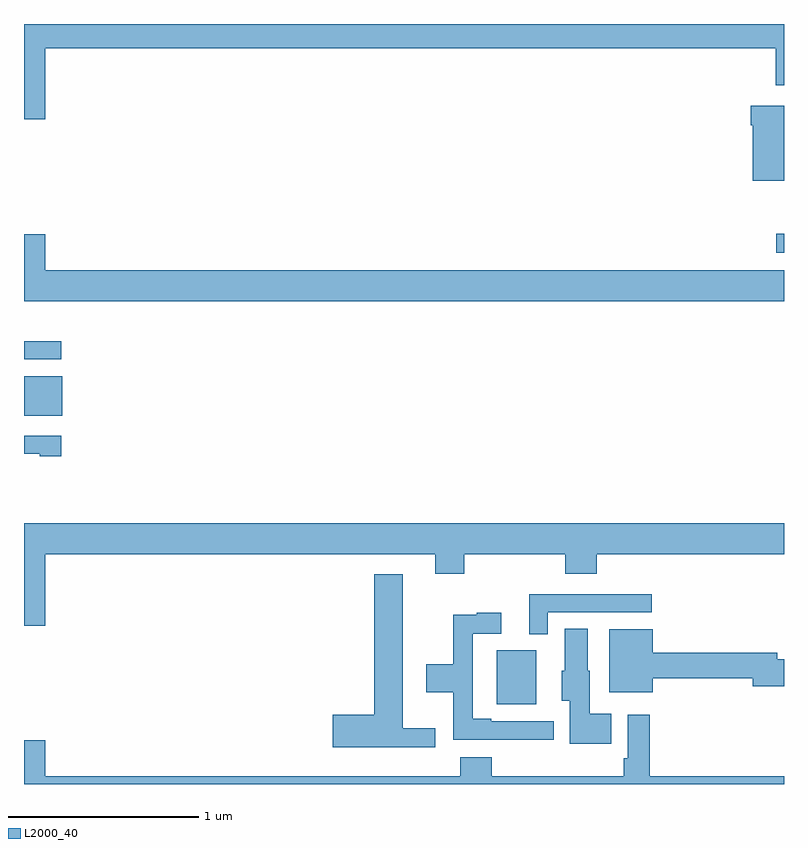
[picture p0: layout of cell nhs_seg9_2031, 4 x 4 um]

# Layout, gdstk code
import gdstk
lib = gdstk.Library(unit=1e-6, precision=1e-09)
def R(c, l, rs):  # rectangles x0, y0, x1, y1
    for r in rs: c.add(gdstk.rectangle(r[:2], r[2:], *l))
def P(c, l, *ps):  # polygons
    for p in ps: c.add(gdstk.Polygon(p, *l))
L2000_40 = (2000, 40)

nhs_seg9_2031 = lib.new_cell('nhs_seg9_2031')
R(nhs_seg9_2031, L2000_40, [(227.489,1240.919,227.695,1241.203), (225,1242.437,225.202,1242.646), (225,1242.735,225.196,1242.831), (228.96,1243.296,229,1243.397)])
P(nhs_seg9_2031, L2000_40, [(225.112,1244.372),(228.956,1244.372),(228.956,1244.178),(229,1244.178),(229,1244.5),(225,1244.5),(225,1243.998),(225.112,1243.998)],
  [(229,1244.071),(228.824,1244.071),(228.824,1243.967),(228.836,1243.967),(228.836,1243.676),(229,1243.676)],
  [(229,1243.204),(225.112,1243.204),(225.112,1243.393),(225,1243.393),(225,1243.04),(229,1243.04)],
  [(225.196,1242.333),(225,1242.333),(225,1242.237),(225.083,1242.237),(225.083,1242.225),(225.196,1242.225)],
  [(225,1241.334),(225.112,1241.334),(225.112,1241.708),(227.165,1241.708),(227.165,1241.606),(227.318,1241.606),(227.318,1241.708),(227.849,1241.708),(227.849,1241.606),(228.014,1241.606),(228.014,1241.708),(229,1241.708),(229,1241.872),(225,1241.872)],
  [(227.164,1240.793),(226.993,1240.793),(226.993,1241.605),(226.844,1241.605),(226.844,1240.865),(226.626,1240.865),(226.626,1240.694),(227.164,1240.694)],
  [(227.757,1241.403),(228.304,1241.403),(228.304,1241.499),(227.66,1241.499),(227.66,1241.288),(227.757,1241.288)],
  [(227.788,1240.83),(227.458,1240.83),(227.458,1240.843),(227.361,1240.843),(227.361,1241.292),(227.512,1241.292),(227.512,1241.401),(227.384,1241.401),(227.384,1241.39),(227.26,1241.39),(227.26,1241.13),(227.118,1241.13),(227.118,1240.982),(227.26,1240.982),(227.26,1240.734),(227.545,1240.734),(227.545,1240.733),(227.788,1240.733)],
  [(228.092,1240.87),(227.977,1240.87),(227.977,1241.097),(227.968,1241.097),(227.968,1241.318),(227.846,1241.318),(227.846,1241.097),(227.831,1241.097),(227.831,1240.938),(227.873,1240.938),(227.873,1240.712),(228.092,1240.712)],
  [(228.31,1241.056),(228.836,1241.056),(228.836,1241.014),(229,1241.014),(229,1241.156),(228.964,1241.156),(228.964,1241.192),(228.31,1241.192),(228.31,1241.314),(228.08,1241.314),(228.08,1240.982),(228.31,1240.982)],
  [(229,1240.54),(228.293,1240.54),(228.293,1240.864),(228.177,1240.864),(228.177,1240.636),(228.157,1240.636),(228.157,1240.54),(227.462,1240.54),(227.462,1240.642),(227.297,1240.642),(227.297,1240.54),(225.112,1240.54),(225.112,1240.729),(225,1240.729),(225,1240.5),(229,1240.5)])

lib.write_gds('nhs_seg9_2031.gds')
